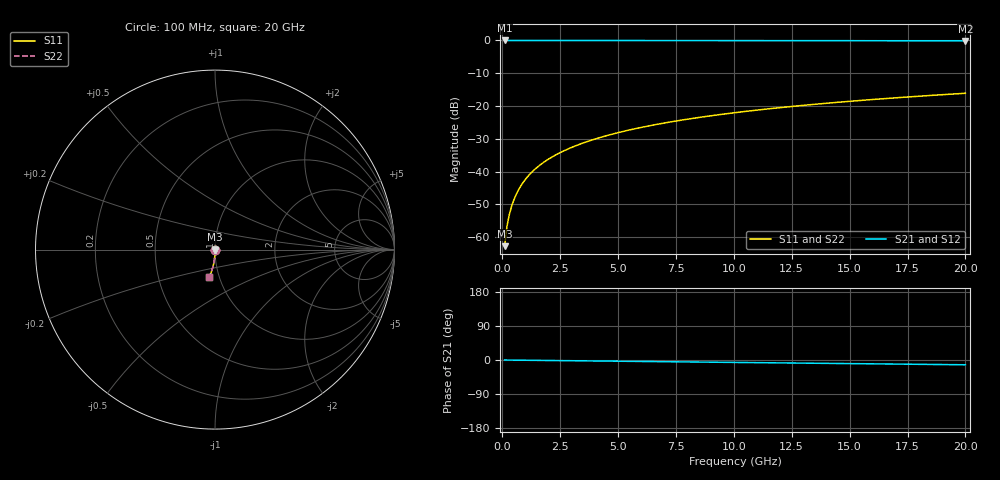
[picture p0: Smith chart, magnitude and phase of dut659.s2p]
! Touchstone file exported from HFSS 2026.1.0
!  File:  C:/ffzhzh/LocalFiles/Ansys_Project_Files/temp_train_TSV_659_1783026861_4048.aedt
!  Generated:  05:15:52 AM Jul  3, 2026
!  Design:  TSV
!  Project:  temp_train_TSV_659_1783026861_4048
! Variables:
!  h_bsmrdl = 2um
!  h_ox = 20um
!  h_rdl = 5um
!  h_sub = 96.87um
!  h_tmrdl = 5um
!  h_tsv = 96.87um
!  h_via = 3um
!  l_bsmrdl = 300um
!  l_sub = 424.14um
!  l_tmrdl = 200um
!  m_sub = 200um
!  pitch = 27.64um
!  r_tsv = 12.07um
!  s_tmrdl = 10um
!  w_bsmrdl = 18um
!  w_sub = 500um
!  w_tmrdl = 12um
!  x_tsv_center1 = 206um
!  x_tsv_center2 = 524um
!  x_tsv_center3 = 736um
!  x_tsv_center4 = 1054um
!  x_tsv_center5 = 1266um
!  x_tsv_center6 = 1584um
# GHz S MA R 50.000000
! Terminal data exported
! Port[1] = TSV1_1_T1
! Port[2] = TSV1_1_T2
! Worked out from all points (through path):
!   200 points, 100 MHz to 20 GHz, reference 50 ohm
!   highest |S21| = 0.00 dB at 100 MHz (marker M1); lowest = -0.1 dB at 20 GHz (marker M2)
!   group delay of S21, straight-line fit = 1.75 ps
!   lowest |S11| = -62.7 dB at 100 MHz (marker M3), VSWR 1.00, Z = 50 - j0.0717 ohm
!   |S11| at or under -10 dB: start of sweep to end of sweep
!   |S22| runs from -62.7 to -16.1 dB; largest |S21 - S12| = 3.2e-15
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0.1  0.0007294 -79.4  0.9999 -0.1  0.9999 -0.1  0.0007294 -79.4
! Gamma 0 0 0 0
! Port Impedance 50 0 50 0
0.2  0.001451 -83.7  0.9998 -0.1  0.9998 -0.1  0.001451 -83.7
0.3  0.00219 -84.9  0.9998 -0.2  0.9998 -0.2  0.00219 -84.9
0.4  0.002943 -85.4  0.9997 -0.3  0.9997 -0.3  0.002943 -85.4
0.5  0.00371 -85.8  0.9997 -0.3  0.9997 -0.3  0.00371 -85.8
0.7  0.005268 -86.4  0.9996 -0.5  0.9996 -0.5  0.005268 -86.4
0.8  0.006054 -86.7  0.9996 -0.5  0.9996 -0.5  0.006054 -86.7
1  0.007632 -87.2  0.9995 -0.7  0.9995 -0.7  0.007632 -87.2
1.2  0.009214 -87.7  0.9995 -0.8  0.9995 -0.8  0.009214 -87.7
1.4  0.0108 -88.1  0.9994 -0.9  0.9994 -0.9  0.0108 -88.1
1.7  0.01317 -88.6  0.9993 -1.1  0.9993 -1.1  0.01317 -88.6
2  0.01554 -89.0  0.9993 -1.3  0.9993 -1.3  0.01554 -89.0
2.7  0.02107 -89.8  0.9991 -1.7  0.9991 -1.7  0.02107 -89.8
3.5  0.02739 -90.6  0.9988 -2.3  0.9988 -2.3  0.02739 -90.6
4.2  0.03293 -91.2  0.9986 -2.7  0.9986 -2.7  0.03293 -91.2
5  0.03927 -91.8  0.9983 -3.2  0.9983 -3.2  0.03927 -91.8
6.8  0.05354 -93.1  0.9974 -4.4  0.9974 -4.4  0.05354 -93.1
8.3  0.06543 -94.2  0.9966 -5.3  0.9966 -5.3  0.06543 -94.2
10.1  0.07965 -95.4  0.9954 -6.4  0.9954 -6.4  0.07965 -95.4
13.4  0.1056 -97.6  0.9928 -8.5  0.9928 -8.5  0.1056 -97.6
16.7  0.1312 -99.8  0.9895 -10.6  0.9895 -10.6  0.1312 -99.8
20  0.1566 -101.9  0.9856 -12.6  0.9856 -12.6  0.1566 -101.9
